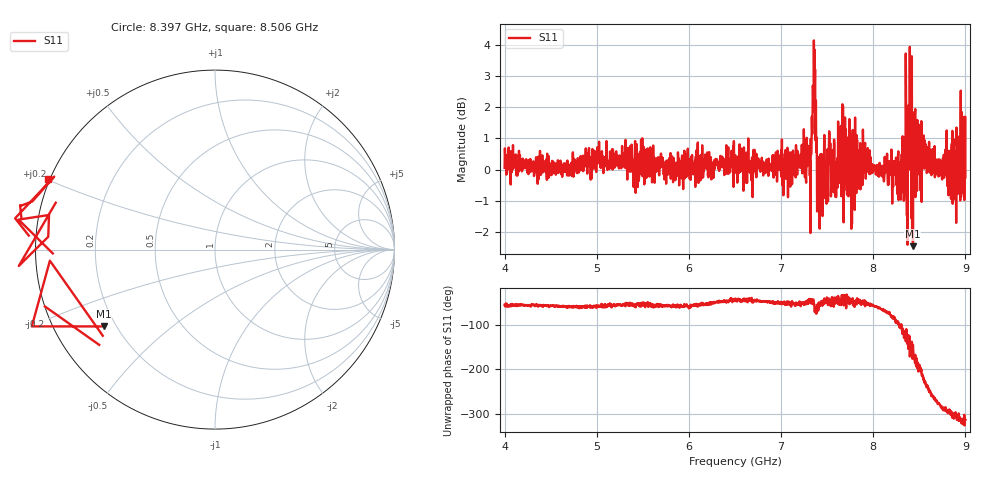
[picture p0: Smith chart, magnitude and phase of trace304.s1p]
! Created with skrf 1.8.0 (http://scikit-rf.org).
# Hz S RI R 50.0
!freq ReS11 ImS11
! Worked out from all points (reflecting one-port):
!   1601 points, 4 GHz to 9 GHz, reference 50 ohm
!   lowest |S11| = -2.5 dB at 8.431 GHz (marker M1), VSWR 7.13, Z = 7.68 - j15.2 ohm
!   phase of S11 starts at -56 deg and turns -256 deg over the sweep
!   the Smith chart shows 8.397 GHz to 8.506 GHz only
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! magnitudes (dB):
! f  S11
! 4 GHz  0.1
! 4.625 GHz  -0.2
! 5.25 GHz  0.1
! 5.875 GHz  0.2
! 6.5 GHz  0.3
! 7.125 GHz  0.3
! 7.294 GHz  0.8
! 7.316 GHz  0.3
! 7.347 GHz  2.6
! 7.359 GHz  2.8
! 7.378 GHz  2.2
! 7.397 GHz  -0.9
! 7.416 GHz  -1.8
! 7.538 GHz  0.2
! 7.591 GHz  0.2
! 7.65 GHz  1.4
! 7.75 GHz  -0.1
! 7.775 GHz  1.1
! 7.8 GHz  -1.3
! 7.891 GHz  0.7
! 8.312 GHz  0.2
! 8.334 GHz  -1.0
! 8.347 GHz  0.7
! 8.375 GHz  0.7
! 8.431 GHz  -2.5
! 8.825 GHz  -0.4
! 8.953 GHz  -0.9
! 9 GHz  -0.2
